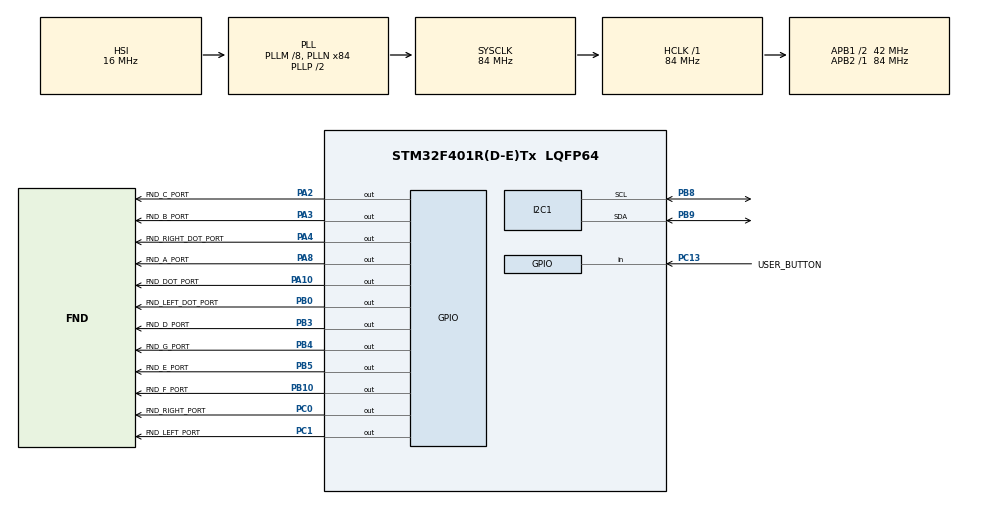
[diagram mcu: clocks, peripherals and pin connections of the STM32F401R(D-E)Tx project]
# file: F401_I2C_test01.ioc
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I2C1.DualAddressMode=I2C_DUALADDRESS_DISABLE
I2C1.I2C_Mode=I2C_Standard
I2C1.NoStretchMode=I2C_NOSTRETCH_DISABLE
I2C1.OwnAddress=0x44
Mcu.Family=STM32F4
Mcu.Name=STM32F401R(D-E)Tx
Mcu.Package=LQFP64
NVIC.I2C1_ER_IRQn=true\:0\:0\:false\:false\:true\:true\:true
NVIC.I2C1_EV_IRQn=true\:0\:0\:false\:false\:true\:true\:true
NVIC.PriorityGroup=NVIC_PRIORITYGROUP_4
NVIC.TIM3_IRQn=true\:0\:0\:false\:false\:true\:true\:true
PA10.GPIO_Label=FND_DOT_PORT
PA10.PinState=GPIO_PIN_SET
PA10.Signal=GPIO_Output
PA13.Mode=Serial_Wire
PA13.Signal=SYS_JTMS-SWDIO
PA14.Mode=Serial_Wire
PA14.Signal=SYS_JTCK-SWCLK
PA2.GPIO_Label=FND_C_PORT
PA2.PinState=GPIO_PIN_SET
PA2.Signal=GPIO_Output
PA3.GPIO_Label=FND_B_PORT
PA3.PinState=GPIO_PIN_SET
PA3.Signal=GPIO_Output
PA4.GPIO_Label=FND_RIGHT_DOT_PORT
PA4.Signal=GPIO_Output
PA8.GPIO_Label=FND_A_PORT
PA8.PinState=GPIO_PIN_SET
PA8.Signal=GPIO_Output
PB0.GPIO_Label=FND_LEFT_DOT_PORT
PB0.Signal=GPIO_Output
PB10.GPIO_Label=FND_F_PORT
PB10.PinState=GPIO_PIN_SET
PB10.Signal=GPIO_Output
PB3.GPIO_Label=FND_D_PORT
PB3.PinState=GPIO_PIN_SET
PB3.Signal=GPIO_Output
PB4.GPIO_Label=FND_G_PORT
PB4.PinState=GPIO_PIN_SET
PB4.Signal=GPIO_Output
PB5.GPIO_Label=FND_E_PORT
PB5.PinState=GPIO_PIN_SET
PB5.Signal=GPIO_Output
PB8.GPIO_Pu=GPIO_PULLUP
PB8.Mode=I2C
PB8.Signal=I2C1_SCL
PB9.GPIO_Pu=GPIO_PULLUP
PB9.Mode=I2C
PB9.Signal=I2C1_SDA
PC0.GPIO_Label=FND_RIGHT_PORT
PC0.Signal=GPIO_Output
PC1.GPIO_Label=FND_LEFT_PORT
PC1.Signal=GPIO_Output
PC13-ANTI_TAMP.GPIO_Label=USER_BUTTON
PC13-ANTI_TAMP.Signal=GPIO_Input
ProjectManager.HeapSize=0x200
ProjectManager.StackSize=0x400
ProjectManager.TargetToolchain=STM32CubeIDE
RCC.48MHZClocksFreq_Value=42000000
RCC.AHBFreq_Value=84000000
RCC.APB1CLKDivider=RCC_HCLK_DIV2
RCC.APB1Freq_Value=42000000
RCC.APB1TimFreq_Value=84000000
RCC.APB2Freq_Value=84000000
RCC.APB2TimFreq_Value=84000000
RCC.CortexFreq_Value=84000000
RCC.HCLKFreq_Value=84000000
RCC.HSE_VALUE=25000000
RCC.HSI_VALUE=16000000
RCC.LSE_VALUE=32768
RCC.PLLM=8
RCC.PLLN=84
RCC.SYSCLKFreq_VALUE=84000000
RCC.SYSCLKSource=RCC_SYSCLKSOURCE_PLLCLK
RCC.VCOOutputFreq_Value=168000000
TIM3.Period=100-1
TIM3.Prescaler=840-1
VP_TIM3_VS_ClockSourceINT.Mode=Internal
board=custom

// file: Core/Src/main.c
/* USER CODE BEGIN Header */
/**
  ******************************************************************************
  * @file           : main.c
  * @brief          : Main program body
  ******************************************************************************
  * @attention
  *
  * <h2><center>&copy; Copyright (c) 2021 STMicroelectronics.
  * All rights reserved.</center></h2>
  *
  * This software component is licensed by ST under BSD 3-Clause license,
  * the "License"; You may not use this file except in compliance with the
  * License. You may obtain a copy of the License at:
  *                        opensource.org/licenses/BSD-3-Clause
  *
  ******************************************************************************
  */
/* USER CODE END Header */
#include "main.h"

/* USER CODE BEGIN PTD */
#define I2C1_SLAVE_ADDRESS	I2C1_Slave_Address
#define BUTTON_PRESS 	1
#define INITALIZE		0
#define WAIT			0
#define READY			1
#define BUTTON_RELEASE  0

#define FND_LEFT_DOT_ON			  HAL_GPIO_WritePin(FND_RIGHT_DOT_PORT_GPIO_Port, FND_RIGHT_DOT_PORT_Pin, GPIO_PIN_RESET); \
  	  	  	  	  	  	  	  	  HAL_GPIO_WritePin(FND_LEFT_DOT_PORT_GPIO_Port, FND_LEFT_DOT_PORT_Pin, GPIO_PIN_SET); \
  	  	  	  	  	  	  	  	  HAL_GPIO_WritePin(GPIOA, FND_DOT_PORT_Pin, GPIO_PIN_RESET);

#define FND_RIGHT_DOT_ON	      HAL_GPIO_WritePin(FND_RIGHT_DOT_PORT_GPIO_Port, FND_RIGHT_DOT_PORT_Pin, GPIO_PIN_SET); \
  	  	  	  	  	  	  	  	  HAL_GPIO_WritePin(FND_LEFT_DOT_PORT_GPIO_Port, FND_LEFT_DOT_PORT_Pin, GPIO_PIN_RESET); \
  	  	  	  	  	  	  	  	  HAL_GPIO_WritePin(GPIOA, FND_DOT_PORT_Pin, GPIO_PIN_RESET);

#define	FND_COM_LEFT_ON  	      HAL_GPIO_WritePin(GPIOC, FND_LEFT_PORT_Pin, GPIO_PIN_SET); \
								  HAL_GPIO_WritePin(GPIOC, FND_RIGHT_PORT_Pin, GPIO_PIN_RESET); \

#define	FND_COM_RIGHT_ON	      HAL_GPIO_WritePin(GPIOC, FND_RIGHT_PORT_Pin, GPIO_PIN_SET); \
								  HAL_GPIO_WritePin(GPIOC, FND_LEFT_PORT_Pin, GPIO_PIN_RESET); \

#define FND_SEG_NUM0_DISP	      HAL_GPIO_WritePin(GPIOA, FND_C_PORT_Pin|FND_B_PORT_Pin|FND_A_PORT_Pin, GPIO_PIN_RESET); \
                                  HAL_GPIO_WritePin(GPIOB, FND_F_PORT_Pin|FND_D_PORT_Pin|FND_E_PORT_Pin, GPIO_PIN_RESET); \
                                  HAL_GPIO_WritePin(GPIOB, FND_G_PORT_Pin, GPIO_PIN_SET);

#define FND_SEG_NUM1_DISP	      HAL_GPIO_WritePin(GPIOA, FND_B_PORT_Pin|FND_C_PORT_Pin, GPIO_PIN_RESET); \
                                  HAL_GPIO_WritePin(GPIOA, FND_A_PORT_Pin, GPIO_PIN_SET); \
                                  HAL_GPIO_WritePin(GPIOB, FND_F_PORT_Pin|FND_D_PORT_Pin|FND_G_PORT_Pin|FND_E_PORT_Pin, GPIO_PIN_SET);

#define FND_SEG_NUM2_DISP	      HAL_GPIO_WritePin(GPIOA, FND_B_PORT_Pin|FND_A_PORT_Pin, GPIO_PIN_RESET); \
                                  HAL_GPIO_WritePin(GPIOB, FND_D_PORT_Pin|FND_G_PORT_Pin|FND_E_PORT_Pin, GPIO_PIN_RESET); \
                                  HAL_GPIO_WritePin(GPIOA, FND_C_PORT_Pin, GPIO_PIN_SET); \
                                  HAL_GPIO_WritePin(GPIOB, FND_F_PORT_Pin, GPIO_PIN_SET);

#define FND_SEG_NUM3_DISP	      HAL_GPIO_WritePin(GPIOA, FND_C_PORT_Pin|FND_B_PORT_Pin|FND_A_PORT_Pin, GPIO_PIN_RESET); \
                                  HAL_GPIO_WritePin(GPIOB, FND_D_PORT_Pin|FND_G_PORT_Pin, GPIO_PIN_RESET); \
                                  HAL_GPIO_WritePin(GPIOB, FND_F_PORT_Pin|FND_E_PORT_Pin, GPIO_PIN_SET);

#define FND_SEG_NUM4_DISP	      HAL_GPIO_WritePin(GPIOA, FND_C_PORT_Pin|FND_B_PORT_Pin, GPIO_PIN_RESET); \
                                  HAL_GPIO_WritePin(GPIOB, FND_F_PORT_Pin|FND_G_PORT_Pin, GPIO_PIN_RESET); \
                                  HAL_GPIO_WritePin(GPIOA, FND_A_PORT_Pin, GPIO_PIN_SET); \
                                  HAL_GPIO_WritePin(GPIOB, FND_E_PORT_Pin|FND_D_PORT_Pin, GPIO_PIN_SET);

#define FND_SEG_NUM5_DISP      	  HAL_GPIO_WritePin(GPIOA, FND_C_PORT_Pin|FND_A_PORT_Pin, GPIO_PIN_RESET); \
                                  HAL_GPIO_WritePin(GPIOB, FND_F_PORT_Pin|FND_D_PORT_Pin|FND_G_PORT_Pin, GPIO_PIN_RESET); \
                                  HAL_GPIO_WritePin(GPIOB, FND_E_PORT_Pin, GPIO_PIN_SET); \
                                  HAL_GPIO_WritePin(GPIOA, FND_B_PORT_Pin, GPIO_PIN_SET);

#define FND_SEG_NUM6_DISP	      HAL_GPIO_WritePin(GPIOA, FND_C_PORT_Pin|FND_A_PORT_Pin, GPIO_PIN_RESET); \
                                  HAL_GPIO_WritePin(GPIOB, FND_F_PORT_Pin|FND_D_PORT_Pin|FND_G_PORT_Pin|FND_E_PORT_Pin, GPIO_PIN_RESET); \
                                  HAL_GPIO_WritePin(GPIOA, FND_B_PORT_Pin, GPIO_PIN_SET);

#define FND_SEG_NUM7_DISP	      HAL_GPIO_WritePin(GPIOA, FND_C_PORT_Pin|FND_B_PORT_Pin|FND_A_PORT_Pin, GPIO_PIN_RESET); \
                                  HAL_GPIO_WritePin(GPIOB, FND_F_PORT_Pin, GPIO_PIN_RESET); \
                                  HAL_GPIO_WritePin(GPIOB, FND_D_PORT_Pin|FND_G_PORT_Pin|FND_E_PORT_Pin, GPIO_PIN_SET); \

#define FND_SEG_NUM8_DISP	      HAL_GPIO_WritePin(GPIOA, FND_C_PORT_Pin|FND_B_PORT_Pin|FND_A_PORT_Pin, GPIO_PIN_RESET); \
						          HAL_GPIO_WritePin(GPIOB, FND_F_PORT_Pin|FND_D_PORT_Pin|FND_G_PORT_Pin|FND_E_PORT_Pin, GPIO_PIN_RESET);

#define FND_SEG_NUM9_DISP	      HAL_GPIO_WritePin(GPIOA, FND_C_PORT_Pin|FND_B_PORT_Pin|FND_A_PORT_Pin, GPIO_PIN_RESET); \
                                  HAL_GPIO_WritePin(GPIOB, FND_F_PORT_Pin|FND_G_PORT_Pin|FND_D_PORT_Pin, GPIO_PIN_RESET); \
                                  HAL_GPIO_WritePin(GPIOB, FND_E_PORT_Pin, GPIO_PIN_SET);
/* USER CODE END PTD */

/* USER CODE BEGIN PD */
 uint8_t I2C1_Slave_Address = 0x44 << 1;
 uint8_t I2C1_TX[2] = {0x2C, 0x06};
 uint8_t I2C1_RX[6] = {0,};
 uint16_t I2C1_Temp = 0;
 uint16_t I2C1_Humi = 0;
 uint8_t Button_Count = 0;
 uint8_t RH = 0;
 uint8_t Degree_Celsius = 0;
 uint8_t User_Button_Status = 0;
 uint8_t disp10 = 0;
 uint8_t disp1 = 0;
 uint8_t I2C1_Calc = 0;
 uint8_t I2C1_Communication = 0;
 uint8_t I2C1_Data = 1;
 uint8_t FND_vector = 0;
 uint8_t User_Button_Value = 0;
/* USER CODE END PD */

I2C_HandleTypeDef hi2c1;

TIM_HandleTypeDef htim3;

void SystemClock_Config(void);
static void MX_GPIO_Init(void);
static void MX_I2C1_Init(void);
static void MX_TIM3_Init(void);

/* USER CODE BEGIN 0 */
void NUM_SEG_DISPLAY(uint8_t Disp_Seg_Num)
{
	switch(Disp_Seg_Num)
	{
	case 0:
		FND_SEG_NUM0_DISP
		break;
	case 1:
		FND_SEG_NUM1_DISP
		break;
	case 2:
		FND_SEG_NUM2_DISP
		break;
	case 3:
		FND_SEG_NUM3_DISP
		break;
	case 4:
		FND_SEG_NUM4_DISP
		break;
	case 5:
		FND_SEG_NUM5_DISP
		break;
	case 6:
		FND_SEG_NUM6_DISP
		break;
	case 7:
		FND_SEG_NUM7_DISP
		break;
	case 8:
		FND_SEG_NUM8_DISP
		break;
	case 9:
		FND_SEG_NUM9_DISP
		break;
	default:
		FND_SEG_NUM0_DISP
		break;
	}
}
void I2C1_FND_Calc(uint8_t I2C1_data)
{
	disp10 = I2C1_data / 10;
	disp1 = I2C1_data % 10;
}

void I2C1_Data_Calc()
{
	if(I2C1_Calc == 0)
	{
		Degree_Celsius = (-45 + (175*(I2C1_Temp / 65535.0)));
		I2C1_FND_Calc(Degree_Celsius);
		FND_LEFT_DOT_ON
		I2C1_Calc = 1;
	}

	else if(I2C1_Calc == 1)
	{
		RH = (100 * (I2C1_Humi / 65535.0));
		I2C1_FND_Calc(RH);
		FND_RIGHT_DOT_ON
		I2C1_Data = 1;
		I2C1_Calc = 0;
	}
}

void I2C1_Master_Data()
{
	if(HAL_I2C_Master_Receive(&hi2c1, I2C1_SLAVE_ADDRESS, I2C1_RX, 6, 10000) == HAL_OK)
	{
		I2C1_Temp = ((I2C1_RX[0] << 8) + I2C1_RX[1]);
		I2C1_Humi = ((I2C1_RX[3] << 8) + I2C1_RX[4]);
	}

	else
	{
		I2C1_Temp = 0;
		I2C1_Humi = 0;
	}
}

void I2C1_Communication_Ctrl()
{
	if(I2C1_Communication == READY && I2C1_Data == READY)
	{
		if(HAL_I2C_Master_Transmit(&hi2c1, I2C1_SLAVE_ADDRESS, I2C1_TX, 2, 10000) == HAL_OK)
		{
			I2C1_Master_Data();
		}

		else
		{
			I2C1_Temp = 0;
			I2C1_Humi = 0;
		}
	}
	I2C1_Communication = WAIT;
	I2C1_Data = WAIT;

	I2C1_Data_Calc();
}

int User_Button_Press_Release_Ctrl(uint8_t User_Button_Ctrl)
{
   if((HAL_GPIO_ReadPin(USER_BUTTON_GPIO_Port, USER_BUTTON_Pin)==0)&&(User_Button_Status == 0))
   {
	   Button_Count++;
	   if(Button_Count > 0)
	   {
		   User_Button_Status = 1;
		   I2C1_Communication = READY;
		   User_Button_Ctrl = BUTTON_PRESS;
	   }
   }

   else if(HAL_GPIO_ReadPin(USER_BUTTON_GPIO_Port, USER_BUTTON_Pin)==1)
   {
	   Button_Count = INITALIZE;
	   User_Button_Status = 0;
	   User_Button_Ctrl = BUTTON_RELEASE;
   }

   return User_Button_Ctrl;
}
/* USER CODE END 0 */

int main(void)
{

  /* MCU Configuration--------------------------------------------------------*/

  /* Reset of all peripherals, Initializes the Flash interface and the Systick. */

	HAL_Init();

  /* Configure the system clock */
  SystemClock_Config();

  /* Initialize all configured peripherals */
  MX_GPIO_Init();
  MX_I2C1_Init();
  MX_TIM3_Init();
  /* USER CODE BEGIN 2 */
  HAL_TIM_Base_Start_IT(&htim3);
  /* USER CODE END 2 */

  /* Infinite loop */
  while (1)
  {

    /* USER CODE BEGIN 3 */
	  User_Button_Value = User_Button_Press_Release_Ctrl(INITALIZE);

	  if(User_Button_Value == BUTTON_PRESS)
	  {
		  I2C1_Communication_Ctrl();
	  }
  }
  /* USER CODE END 3 */
}

void SystemClock_Config(void)
{
  RCC_OscInitTypeDef RCC_OscInitStruct = {0};
  RCC_ClkInitTypeDef RCC_ClkInitStruct = {0};

  /** Configure the main internal regulator output voltage
  */
  __HAL_RCC_PWR_CLK_ENABLE();
  __HAL_PWR_VOLTAGESCALING_CONFIG(PWR_REGULATOR_VOLTAGE_SCALE2);
  /** Initializes the RCC Oscillators according to the specified parameters
  * in the RCC_OscInitTypeDef structure.
  */
  RCC_OscInitStruct.OscillatorType = RCC_OSCILLATORTYPE_HSI;
  RCC_OscInitStruct.HSIState = RCC_HSI_ON;
  RCC_OscInitStruct.HSICalibrationValue = RCC_HSICALIBRATION_DEFAULT;
  RCC_OscInitStruct.PLL.PLLState = RCC_PLL_ON;
  RCC_OscInitStruct.PLL.PLLSource = RCC_PLLSOURCE_HSI;
  RCC_OscInitStruct.PLL.PLLM = 8;
  RCC_OscInitStruct.PLL.PLLN = 84;
  RCC_OscInitStruct.PLL.PLLP = RCC_PLLP_DIV2;
  RCC_OscInitStruct.PLL.PLLQ = 4;
  if (HAL_RCC_OscConfig(&RCC_OscInitStruct) != HAL_OK)
  {
    Error_Handler();
  }
  /** Initializes the CPU, AHB and APB buses clocks
  */
  RCC_ClkInitStruct.ClockType = RCC_CLOCKTYPE_HCLK|RCC_CLOCKTYPE_SYSCLK
                              |RCC_CLOCKTYPE_PCLK1|RCC_CLOCKTYPE_PCLK2;
  RCC_ClkInitStruct.SYSCLKSource = RCC_SYSCLKSOURCE_PLLCLK;
  RCC_ClkInitStruct.AHBCLKDivider = RCC_SYSCLK_DIV1;
  RCC_ClkInitStruct.APB1CLKDivider = RCC_HCLK_DIV2;
  RCC_ClkInitStruct.APB2CLKDivider = RCC_HCLK_DIV1;

  if (HAL_RCC_ClockConfig(&RCC_ClkInitStruct, FLASH_LATENCY_2) != HAL_OK)
  {
    Error_Handler();
  }
}

static void MX_I2C1_Init(void)
{

  hi2c1.Instance = I2C1;
  hi2c1.Init.ClockSpeed = 100000;
  hi2c1.Init.DutyCycle = I2C_DUTYCYCLE_2;
  hi2c1.Init.OwnAddress1 = 136;
  hi2c1.Init.AddressingMode = I2C_ADDRESSINGMODE_7BIT;
  hi2c1.Init.DualAddressMode = I2C_DUALADDRESS_DISABLE;
  hi2c1.Init.OwnAddress2 = 0;
  hi2c1.Init.GeneralCallMode = I2C_GENERALCALL_DISABLE;
  hi2c1.Init.NoStretchMode = I2C_NOSTRETCH_DISABLE;
  if (HAL_I2C_Init(&hi2c1) != HAL_OK)
  {
    Error_Handler();
  }

}

static void MX_TIM3_Init(void)
{

  TIM_ClockConfigTypeDef sClockSourceConfig = {0};
  TIM_MasterConfigTypeDef sMasterConfig = {0};

  htim3.Instance = TIM3;
  htim3.Init.Prescaler = 840-1;
  htim3.Init.CounterMode = TIM_COUNTERMODE_UP;
  htim3.Init.Period = 100-1;
  htim3.Init.ClockDivision = TIM_CLOCKDIVISION_DIV1;
  htim3.Init.AutoReloadPreload = TIM_AUTORELOAD_PRELOAD_DISABLE;
  if (HAL_TIM_Base_Init(&htim3) != HAL_OK)
  {
    Error_Handler();
  }
  sClockSourceConfig.ClockSource = TIM_CLOCKSOURCE_INTERNAL;
  if (HAL_TIM_ConfigClockSource(&htim3, &sClockSourceConfig) != HAL_OK)
  {
    Error_Handler();
  }
  sMasterConfig.MasterOutputTrigger = TIM_TRGO_RESET;
  sMasterConfig.MasterSlaveMode = TIM_MASTERSLAVEMODE_DISABLE;
  if (HAL_TIMEx_MasterConfigSynchronization(&htim3, &sMasterConfig) != HAL_OK)
  {
    Error_Handler();
  }

}

static void MX_GPIO_Init(void)
{
  GPIO_InitTypeDef GPIO_InitStruct = {0};

  /* GPIO Ports Clock Enable */
  __HAL_RCC_GPIOC_CLK_ENABLE();
  __HAL_RCC_GPIOA_CLK_ENABLE();
  __HAL_RCC_GPIOB_CLK_ENABLE();

  /*Configure GPIO pin Output Level */
  HAL_GPIO_WritePin(GPIOC, FND_RIGHT_PORT_Pin|FND_LEFT_PORT_Pin, GPIO_PIN_RESET);

  /*Configure GPIO pin Output Level */
  HAL_GPIO_WritePin(GPIOA, FND_C_PORT_Pin|FND_B_PORT_Pin|FND_A_PORT_Pin|FND_DOT_PORT_Pin, GPIO_PIN_SET);

  /*Configure GPIO pin Output Level */
  HAL_GPIO_WritePin(FND_RIGHT_DOT_PORT_GPIO_Port, FND_RIGHT_DOT_PORT_Pin, GPIO_PIN_RESET);

  /*Configure GPIO pin Output Level */
  HAL_GPIO_WritePin(FND_LEFT_DOT_PORT_GPIO_Port, FND_LEFT_DOT_PORT_Pin, GPIO_PIN_RESET);

  /*Configure GPIO pin Output Level */
  HAL_GPIO_WritePin(GPIOB, FND_F_PORT_Pin|FND_D_PORT_Pin|FND_G_PORT_Pin|FND_E_PORT_Pin, GPIO_PIN_SET);

  /*Configure GPIO pin : USER_BUTTON_Pin */
  GPIO_InitStruct.Pin = USER_BUTTON_Pin;
  GPIO_InitStruct.Mode = GPIO_MODE_INPUT;
  GPIO_InitStruct.Pull = GPIO_NOPULL;
  HAL_GPIO_Init(USER_BUTTON_GPIO_Port, &GPIO_InitStruct);

  /*Configure GPIO pins : FND_RIGHT_PORT_Pin FND_LEFT_PORT_Pin */
  GPIO_InitStruct.Pin = FND_RIGHT_PORT_Pin|FND_LEFT_PORT_Pin;
  GPIO_InitStruct.Mode = GPIO_MODE_OUTPUT_PP;
  GPIO_InitStruct.Pull = GPIO_NOPULL;
  GPIO_InitStruct.Speed = GPIO_SPEED_FREQ_LOW;
  HAL_GPIO_Init(GPIOC, &GPIO_InitStruct);

  /*Configure GPIO pins : FND_C_PORT_Pin FND_B_PORT_Pin FND_RIGHT_DOT_PORT_Pin FND_A_PORT_Pin
                           FND_DOT_PORT_Pin */
  GPIO_InitStruct.Pin = FND_C_PORT_Pin|FND_B_PORT_Pin|FND_RIGHT_DOT_PORT_Pin|FND_A_PORT_Pin
                          |FND_DOT_PORT_Pin;
  GPIO_InitStruct.Mode = GPIO_MODE_OUTPUT_PP;
  GPIO_InitStruct.Pull = GPIO_NOPULL;
  GPIO_InitStruct.Speed = GPIO_SPEED_FREQ_LOW;
  HAL_GPIO_Init(GPIOA, &GPIO_InitStruct);

  /*Configure GPIO pins : FND_LEFT_DOT_PORT_Pin FND_F_PORT_Pin FND_D_PORT_Pin FND_G_PORT_Pin
                           FND_E_PORT_Pin */
  GPIO_InitStruct.Pin = FND_LEFT_DOT_PORT_Pin|FND_F_PORT_Pin|FND_D_PORT_Pin|FND_G_PORT_Pin
                          |FND_E_PORT_Pin;
  GPIO_InitStruct.Mode = GPIO_MODE_OUTPUT_PP;
  GPIO_InitStruct.Pull = GPIO_NOPULL;
  GPIO_InitStruct.Speed = GPIO_SPEED_FREQ_LOW;
  HAL_GPIO_Init(GPIOB, &GPIO_InitStruct);

}

/* USER CODE BEGIN 4 */
void HAL_TIM_PeriodElapsedCallback(TIM_HandleTypeDef *htim)
{
	if(FND_vector == 0)
	{
		FND_COM_LEFT_ON
		NUM_SEG_DISPLAY(disp10);
		FND_vector = 1;
	}

	else if(FND_vector == 1)
	{
		FND_COM_RIGHT_ON
		NUM_SEG_DISPLAY(disp1);
		FND_vector = 0;
	}
}
/* USER CODE END 4 */

void Error_Handler(void)
{
  __disable_irq();
  while (1)
  {
  }
}

/************************ (C) COPYRIGHT STMicroelectronics *****END OF FILE****/
